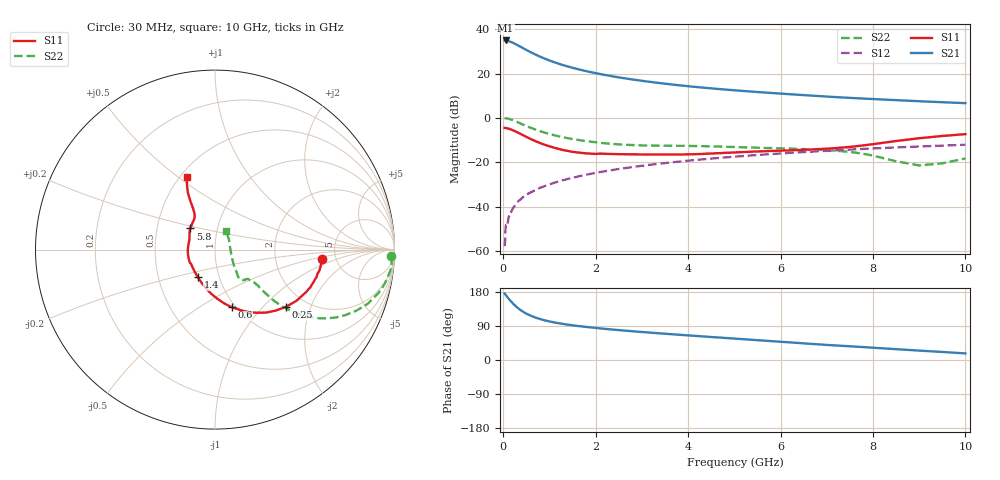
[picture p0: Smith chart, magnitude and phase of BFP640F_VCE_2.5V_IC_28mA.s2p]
! Infineon Technologies  Discrete & RF Semiconductors
! BFP640F
! VCE =  2.5 V,  IC =  28 mA
! Common Emitter S-Parameters:  Apr 2013
# GHz  S  MA  R  50
!  f  S11  S21  S12  S22
! GHz  MAG  ANG  MAG  ANG  MAG  ANG  MAG  ANG
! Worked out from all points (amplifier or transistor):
!   99 points, 30 MHz to 10 GHz, reference 50 ohm
!   highest |S21| = 34.9 dB at 50 MHz (marker M1)
!   |S21| within 3 dB of that: start of sweep to 388.5 MHz
!   unconditionally stable (mu >= 1): 1.904 GHz to end of sweep
!   at 350 MHz: K = 0.45, MSG = 34.7 dB, |S12| = -37.0 dB
!   at 3.5 GHz: K = 1.06, MAG = 16.4 dB, |S12| = -20.3 dB
!   at 10 GHz: K = 1.04, MAG = 8.1 dB, |S12| = -12.0 dB
!   S11 on the Smith chart (normalised r, x): 30 MHz: 3.88, -0.63; 250 MHz: 1.59, -1.37; 600 MHz: 0.96, -0.69; 1.4 GHz: 0.79, -0.25; 5.8 GHz: 0.74, +0.18; 10 GHz: 0.54, +0.54
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0.03  0.5994 -5.0  55.57 175.5  0.0013 88.0  0.9837 -2.1
0.05  0.5963 -9.0  55.85 172.4  0.0033 63.1  0.9875 -4.6
0.1  0.5817 -16.5  54.49 164.5  0.0045 65.9  0.9707 -9.9
0.15  0.5614 -24.7  52.44 157.2  0.0068 76.7  0.9401 -15.2
0.2  0.5357 -32.2  50.01 150.5  0.0089 80.2  0.9018 -19.6
0.25  0.508 -38.9  47.2 144.4  0.0106 76.6  0.8588 -23.3
0.3  0.4795 -45.1  44.41 138.9  0.0125 75.1  0.8155 -26.5
0.4  0.4236 -56.2  38.96 129.7  0.0155 73.9  0.7321 -31.5
0.5  0.3756 -65.4  34.17 122.4  0.0188 72.3  0.6608 -34.9
0.6  0.3341 -73.8  30.15 116.6  0.0213 71.9  0.5996 -37.3
0.7  0.3014 -80.9  26.79 111.9  0.024 71.7  0.5481 -38.8
0.9  0.2494 -94.0  21.73 104.6  0.0294 71.2  0.468 -40.5
1.1  0.2144 -105.8  18.13 99.2  0.0348 70.7  0.4102 -40.9
1.4  0.1816 -121.7  14.46 93.2  0.0426 70.1  0.3517 -40.7
1.7  0.1637 -136.2  12 88.6  0.0504 69.5  0.3118 -39.9
2.4  0.1545 -162.7  8.58 80.0  0.0684 66.8  0.2595 -41.1
3.4  0.1511 171.7  6.103 70.2  0.094 62.3  0.2377 -44.1
5.1  0.1695 146.6  4.139 55.7  0.1369 53.5  0.2208 -48.8
5.8  0.1813 139.4  3.668 49.8  0.1545 49.6  0.2104 -49.6
6.7  0.1967 128.7  3.184 42.3  0.1756 44.5  0.1951 -49.4
8.5  0.3034 116.9  2.528 28.6  0.2179 34.0  0.1063 -27.2
10  0.4338 111.0  2.162 17.4  0.2498 25.2  0.1231 59.7
